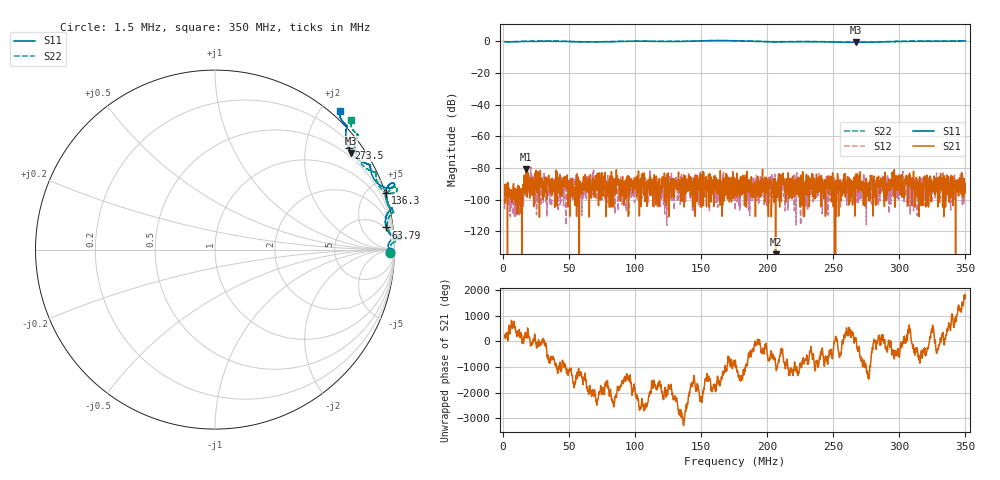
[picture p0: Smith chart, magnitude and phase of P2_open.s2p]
# Hz S RI R 50
! RAW DATA - UNCALIBRATED
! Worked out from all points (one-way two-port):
!   1601 points, 1.5 MHz to 350 MHz, reference 50 ohm
!   highest |S21| = -80.87 dB at 17.84 MHz (marker M1); lowest = -186.1 dB at 206.5 MHz (marker M2)
!   lowest |S11| = -0.6 dB at 267.4 MHz (marker M3), VSWR 27.93, Z = 19.2 + j155 ohm
!   |S11| at or under -10 dB: nowhere
!   |S22| runs from -0.5 to 0.6 dB; largest |S21 - S12| = 0.00014
!   S11 on the Smith chart (normalised r, x): 1.5 MHz: 63, -40; 63.79 MHz: 4, +14; 136.3 MHz: -0.03, +6.18; 273.5 MHz: 0.33, +2.93; 350 MHz: -0.11, +2.24
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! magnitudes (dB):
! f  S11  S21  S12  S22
! 1.5 MHz  -0.2  -100.4  -105.9  -0.2
! 8.906 MHz  -0.3  -99.8  -102.0  -0.1
! 17.84 MHz  0.0  -80.9  -86.1  0.0
! 34.61 MHz  0.1  -88.1  -98.2  0.4
! 42.88 MHz  0.1  -85.6  -89.1  0.2
! 59.66 MHz  -0.3  -93.6  -92.6  -0.2
! 63.79 MHz  -0.3  -90.3  -86.9  -0.3
! 74.03 MHz  -0.3  -87.3  -90.7  -0.2
! 97.77 MHz  0.1  -91.1  -89.0  0.2
! 117.8 MHz  0.0  -100.7  -91.4  0.0
! 136.3 MHz  0.0  -91.4  -98.8  0.0
! 160.9 MHz  0.5  -88.1  -96.6  0.6
! 175.8 MHz  0.4  -88.1  -106.8  0.4
! 193.6 MHz  -0.1  -92.6  -103.1  0.0
! 206.5 MHz  -0.3  -186.1  -89.2  -0.2
! 233.9 MHz  -0.2  -83.5  -87.7  -0.1
! 267.4 MHz  -0.6  -90.0  -89.6  -0.5
! 273.5 MHz  -0.6  -94.4  -98.6  -0.5
! 292.1 MHz  -0.2  -94.3  -108.8  -0.1
! 306.9 MHz  0.0  -90.7  -96.1  0.2
! 333.4 MHz  0.1  -85.1  -92.2  0.2
! 350 MHz  0.3  -90.6  -89.1  0.4
